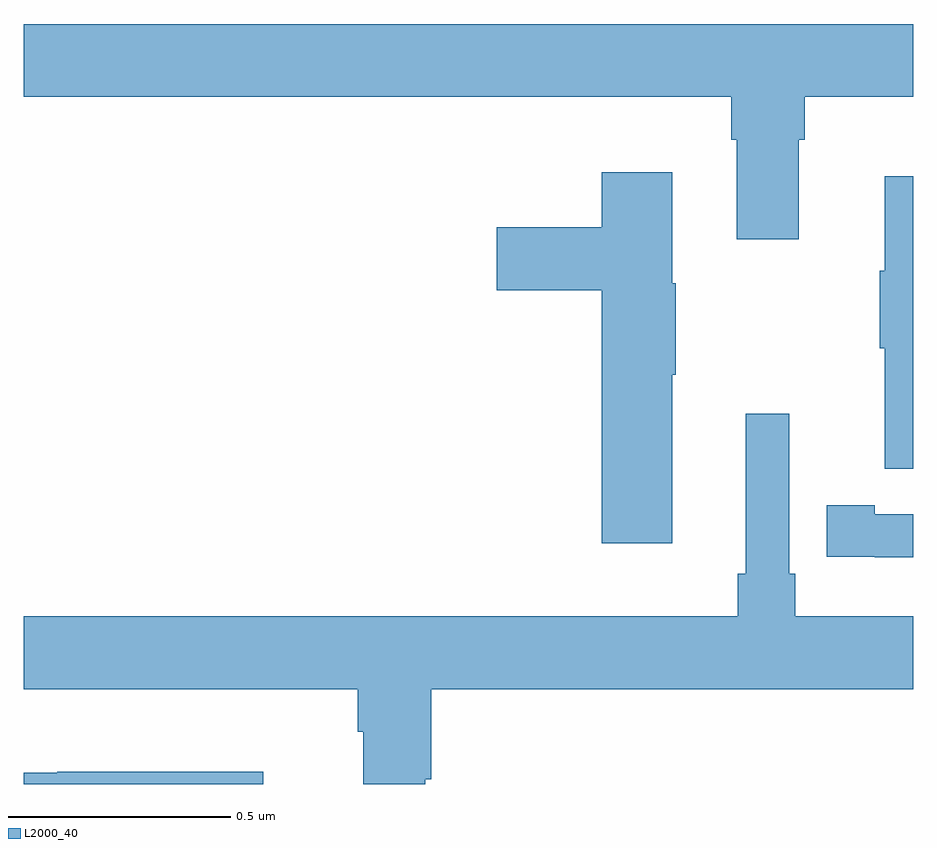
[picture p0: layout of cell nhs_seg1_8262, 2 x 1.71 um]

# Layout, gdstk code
import gdstk
lib = gdstk.Library(unit=1e-6, precision=1e-09)
def P(c, l, *ps):  # polygons
    for p in ps: c.add(gdstk.Polygon(p, *l))
L2000_40 = (2000, 40)

nhs_seg1_8262 = lib.new_cell('nhs_seg1_8262')
P(nhs_seg1_8262, L2000_40, [(214,539.744),(215.591,539.744),(215.591,539.648),(215.603,539.648),(215.603,539.424),(215.743,539.424),(215.743,539.648),(215.756,539.648),(215.756,539.744),(216,539.744),(216,539.908),(214,539.908)],
  [(215.458,539.119),(215.466,539.119),(215.466,539.325),(215.458,539.325),(215.458,539.575),(215.3,539.575),(215.3,539.451),(215.064,539.451),(215.064,539.309),(215.3,539.309),(215.3,538.74),(215.458,538.74)],
  [(216,539.566),(215.936,539.566),(215.936,539.353),(215.925,539.353),(215.925,539.179),(215.936,539.179),(215.936,538.908),(216,538.908)],
  [(214.903,538.21),(214.916,538.21),(214.916,538.412),(216,538.412),(216,538.576),(215.735,538.576),(215.735,538.672),(215.721,538.672),(215.721,539.032),(215.624,539.032),(215.624,538.672),(215.605,538.672),(215.605,538.576),(214,538.576),(214,538.412),(214.751,538.412),(214.751,538.316),(214.763,538.316),(214.763,538.199),(214.903,538.199)],
  [(216,538.806),(215.914,538.806),(215.914,538.826),(215.806,538.826),(215.806,538.71),(215.914,538.71),(215.914,538.709),(216,538.709)],
  [(214.539,538.226),(214.075,538.226),(214.075,538.224),(214,538.224),(214,538.199),(214.539,538.199)])

lib.write_gds('nhs_seg1_8262.gds')
